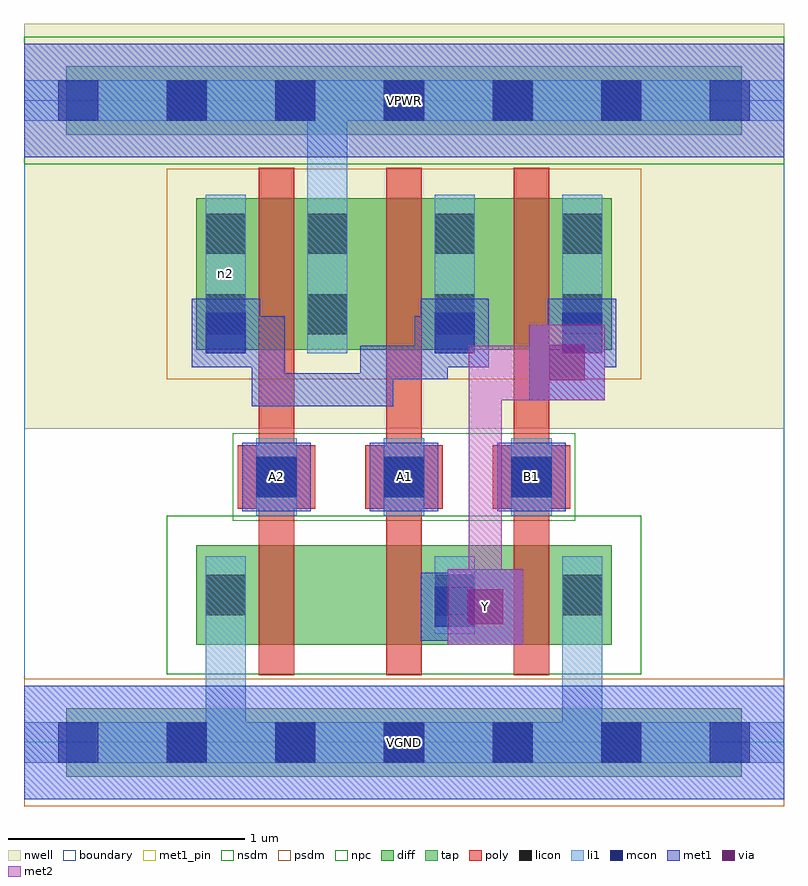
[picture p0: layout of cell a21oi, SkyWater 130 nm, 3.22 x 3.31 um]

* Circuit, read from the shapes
.subckt a21oi A1 A2 B1 VGND VPWR Y n2
XM1 n1 A2 VGND VGND sky130_fd_pr__nfet_01v8 w=0.42 l=0.15
XM2 Y A1 n1 VGND sky130_fd_pr__nfet_01v8 w=0.42 l=0.15
XM3 VGND B1 Y VGND sky130_fd_pr__nfet_01v8 w=0.42 l=0.15
XM4 VPWR A2 n2 VPWR sky130_fd_pr__pfet_01v8 w=0.64 l=0.15
XM5 n2 A1 VPWR VPWR sky130_fd_pr__pfet_01v8 w=0.64 l=0.15
XM6 Y B1 n2 VPWR sky130_fd_pr__pfet_01v8 w=0.64 l=0.15
.ends

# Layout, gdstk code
import gdstk
lib = gdstk.Library(unit=1e-6, precision=1e-09)
def R(c, l, rs):  # rectangles x0, y0, x1, y1
    for r in rs: c.add(gdstk.rectangle(r[:2], r[2:], *l))
def A(c, l, x, y, w, h, nx, ny, dx, dy):  # array of equal rectangles
    R(c, l, [(x+i*dx, y+j*dy, x+i*dx+w, y+j*dy+h) for i in range(nx) for j in range(ny)])
nwell = (64, 20)
diff = (65, 20)
tap = (65, 44)
poly = (66, 20)
licon = (66, 44)
li1 = (67, 20)
mcon = (67, 44)
met1_pin = (68, 16)
met1 = (68, 20)
via = (68, 44)
met2 = (69, 20)
nsdm = (93, 44)
psdm = (94, 20)
npc = (95, 20)
boundary = (235, 4)

a21oi = lib.new_cell('a21oi')
R(a21oi, nwell, [(0,1.33,3.22,3.045)])
R(a21oi, diff, [(0.73,0.415,2.49,0.835), (0.73,1.665,2.49,2.305)])
R(a21oi, tap, [(0.18,-0.145,3.04,0.145), (0.18,2.575,3.04,2.865)])
A(a21oi, poly, 0.995, 0.285, 0.15, 2.15, 3, 1, 0.54, 0)
A(a21oi, poly, 0.905, 0.99, 0.33, 0.27, 3, 1, 0.54, 0)
A(a21oi, licon, 0.605, -0.085, 0.17, 0.17, 5, 2, 0.46, 2.72)
A(a21oi, licon, 0.985, 1.04, 0.17, 0.17, 3, 1, 0.54, 0)
A(a21oi, licon, 1.2, 1.73, 0.17, 0.17, 3, 2, 0.54, 0.34)
R(a21oi, licon, [(0.77,0.54,0.94,0.71), (1.74,0.54,1.91,0.71), (2.28,0.54,2.45,0.71), (0.77,1.73,0.94,1.9), (0.77,2.07,0.94,2.24)])
A(a21oi, li1, 0.985, 0.96, 0.17, 0.33, 3, 1, 0.54, 0)
A(a21oi, li1, 1.2, 1.65, 0.17, 0.67, 3, 1, 0.54, 0)
R(a21oi, li1, [(0,-0.085,3.22,0.085), (0.77,-0.085,0.94,0.79), (2.28,-0.085,2.45,0.79), (0.77,0.46,0.94,0.79), (1.74,0.46,1.91,0.79), (2.28,0.46,2.45,0.79), (0.77,1.65,0.94,2.32), (1.2,1.65,1.37,2.805), (0,2.635,3.22,2.805)])
A(a21oi, mcon, 0.145, -0.085, 0.17, 0.17, 7, 2, 0.46, 2.72)
A(a21oi, mcon, 0.985, 1.04, 0.17, 0.17, 3, 1, 0.54, 0)
R(a21oi, mcon, [(1.74,0.49,1.91,0.66), (0.77,1.65,0.94,1.82), (1.74,1.65,1.91,1.82), (2.28,1.65,2.45,1.82)])
A(a21oi, met1_pin, 0.925, 0.98, 0.29, 0.29, 3, 1, 0.54, 0)
R(a21oi, met1_pin, [(0,-0.24,3.22,0.24), (1.795,0.415,2.115,0.735), (0,2.48,3.22,2.96)])
A(a21oi, met1, 0.925, 0.98, 0.29, 0.29, 3, 1, 0.54, 0)
R(a21oi, met1, [(0,-0.24,3.22,0.24), (1.795,0.415,2.115,0.735), (1.68,0.43,1.97,0.72), (1.755,0.505,2.025,0.645), (0.965,1.425,1.105,1.68), (0.965,1.425,1.565,1.565), (1.425,1.425,1.565,1.68), (2.14,1.45,2.46,1.77), (0.965,1.54,1.105,1.805), (1.425,1.54,1.795,1.68), (1.655,1.54,1.795,1.805), (2.23,1.54,2.37,1.805), (0.71,1.59,1,1.88), (1.68,1.59,1.97,1.88), (2.22,1.59,2.51,1.88), (0.785,1.665,1.105,1.805), (1.655,1.665,1.895,1.805), (2.23,1.665,2.435,1.805), (0,2.48,3.22,2.96)])
R(a21oi, via, [(1.88,0.5,2.03,0.65), (2.225,1.535,2.375,1.685)])
R(a21oi, met2, [(1.795,0.415,2.115,0.735), (1.885,0.505,2.025,1.68), (2.025,1.45,2.14,1.68), (2.14,1.45,2.46,1.77), (1.885,1.54,2.37,1.68)])
R(a21oi, nsdm, [(0.605,0.29,2.615,0.96), (0,2.45,3.22,2.99)])
R(a21oi, psdm, [(0,-0.27,3.22,0.27), (0.605,1.54,2.615,2.43)])
R(a21oi, npc, [(0.885,0.94,2.335,1.31)])
R(a21oi, boundary, [(0,0,3.22,2.72)])
a21oi.add(gdstk.Label('n2', (0.855,1.985), layer=67, texttype=5))
a21oi.add(gdstk.Label('A1', (1.61,1.125), layer=68, texttype=5))
a21oi.add(gdstk.Label('A2', (1.07,1.125), layer=68, texttype=5))
a21oi.add(gdstk.Label('B1', (2.15,1.125), layer=68, texttype=5))
a21oi.add(gdstk.Label('Y', (1.955,0.575), layer=68, texttype=5))
a21oi.add(gdstk.Label('VPWR', (1.61,2.72), layer=68, texttype=5))
a21oi.add(gdstk.Label('VGND', (1.61,0), layer=68, texttype=5))
a21oi.add(gdstk.Label('A1', (1.61,1.125), layer=68, texttype=16))
a21oi.add(gdstk.Label('A2', (1.07,1.125), layer=68, texttype=16))
a21oi.add(gdstk.Label('B1', (2.15,1.125), layer=68, texttype=16))
a21oi.add(gdstk.Label('Y', (1.955,0.575), layer=68, texttype=16))
a21oi.add(gdstk.Label('VPWR', (1.61,2.72), layer=68, texttype=16))
a21oi.add(gdstk.Label('VGND', (1.61,0), layer=68, texttype=16))

lib.write_gds('a21oi.gds')
